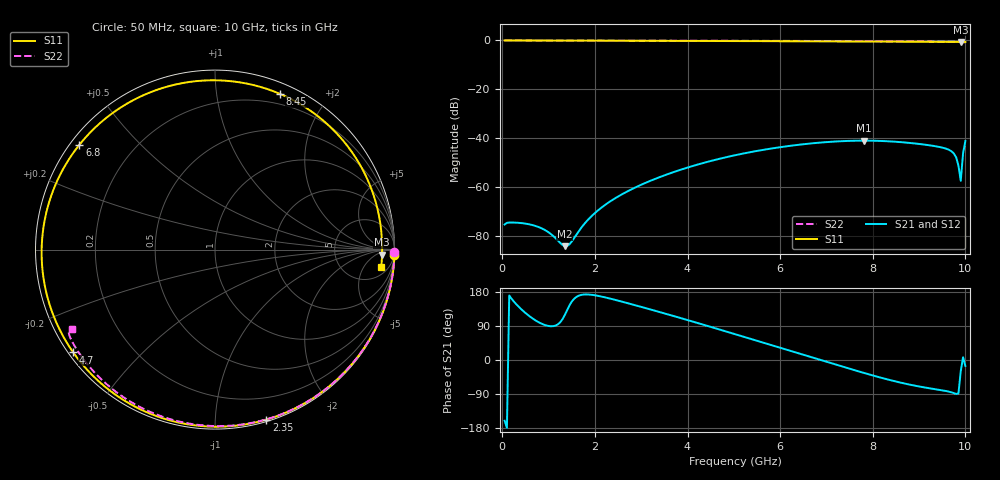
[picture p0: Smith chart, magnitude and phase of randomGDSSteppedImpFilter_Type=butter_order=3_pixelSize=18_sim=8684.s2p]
! freq	dB(S11)	phase(S11)	dB(S12)	phase(S12)
!  dB(S21)	phase(S21)	dB(S22)	phase(S22)
!S-par simulation data
#  GHz  S  DB  R 50
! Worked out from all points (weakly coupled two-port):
!   200 points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, 50 MHz to 10 GHz, reference 50 ohm
!   highest |S21| = -40.99 dB at 7.8 GHz (marker M1); lowest = -84.2 dB at 1.35 GHz (marker M2)
!   lowest |S11| = -0.6 dB at 9.9 GHz (marker M3), VSWR 27.99, Z = 1.18e+03 - j512 ohm
!   |S11| at or under -10 dB: nowhere
!   |S22| runs from -0.8 to 0.0 dB; largest |S21 - S12| = 0
!   S11 on the Smith chart (normalised r, x): 50 MHz: 0, -72; 2.35 GHz: 0.02, -1.35; 4.7 GHz: 0.01, -0.32; 6.8 GHz: 0.03, +0.34; 8.45 GHz: 0.10, +1.50; 10 GHz: 9, -13
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0.05  -0.00 -1.6  -75.30 -160.3  -75.30 -160.3  -0.00 -0.9
0.55  -0.01 -17.5  -75.10 119.0  -75.10 119.0  -0.01 -9.6
1.1  -0.04 -34.9  -80.00 89.3  -80.00 89.3  -0.02 -19.0
1.35  -0.05 -42.6  -84.17 118.9  -84.17 118.9  -0.03 -23.3
1.55  -0.06 -48.8  -80.86 161.4  -80.86 161.4  -0.03 -26.7
1.75  -0.07 -55.0  -75.55 172.6  -75.55 172.6  -0.04 -30.0
2.35  -0.09 -73.2  -65.60 161.4  -65.60 161.4  -0.05 -40.1
3.4  -0.14 -104.7  -55.90 126.5  -55.90 126.5  -0.08 -57.1
4.7  -0.21 -144.1  -48.37 80.1  -48.37 80.1  -0.11 -77.2
5.05  -0.24 -155.1  -46.86 67.3  -46.86 67.3  -0.13 -82.4
5.9  -0.31 176.3  -43.95 35.9  -43.95 35.9  -0.16 -94.8
6.7  -0.39 146.3  -42.07 6.4  -42.07 6.4  -0.21 -106.2
6.8  -0.40 142.3  -41.90 2.7  -41.90 2.7  -0.21 -107.6
7.8  -0.49 98.5  -40.99 -33.9  -40.99 -33.9  -0.28 -121.4
8.35  -0.53 72.2  -41.27 -52.3  -41.27 -52.3  -0.33 -128.9
8.45  -0.54 67.3  -41.39 -55.3  -41.39 -55.3  -0.34 -130.2
9.1  -0.57 35.4  -42.57 -72.1  -42.57 -72.1  -0.40 -139.2
9.65  -0.61 9.4  -44.80 -83.7  -44.80 -83.7  -0.47 -147.0
9.8  -0.62 2.6  -47.81 -89.4  -47.81 -89.4  -0.52 -149.4
9.9  -0.62 -1.8  -57.41 -29.5  -57.41 -29.5  -0.64 -151.1
9.95  -0.62 -3.9  -46.10 7.3  -46.10 7.3  -0.77 -151.4
10  -0.61 -6.0  -41.13 -15.8  -41.13 -15.8  -0.78 -151.0
